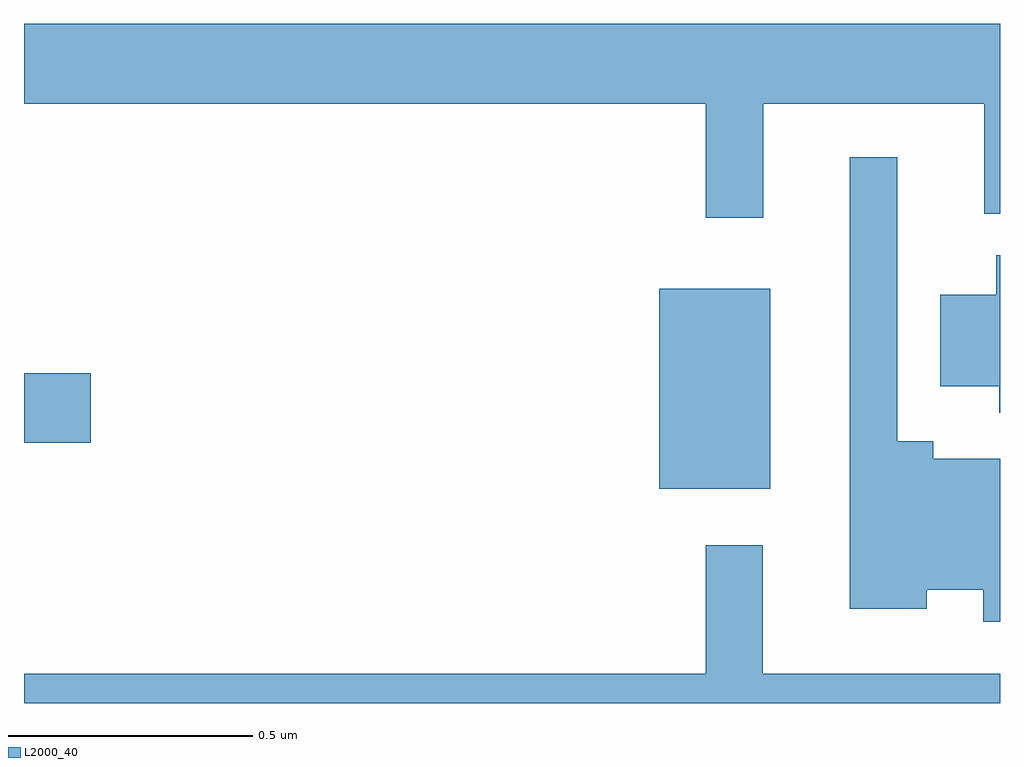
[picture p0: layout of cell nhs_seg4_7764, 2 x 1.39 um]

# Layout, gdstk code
import gdstk
lib = gdstk.Library(unit=1e-6, precision=1e-09)
def R(c, l, rs):  # rectangles x0, y0, x1, y1
    for r in rs: c.add(gdstk.rectangle(r[:2], r[2:], *l))
def P(c, l, *ps):  # polygons
    for p in ps: c.add(gdstk.Polygon(p, *l))
L2000_40 = (2000, 40)

nhs_seg4_7764 = lib.new_cell('nhs_seg4_7764')
R(nhs_seg4_7764, L2000_40, [(207.302,821.339,207.529,821.749), (206,821.434,206.137,821.576)])
P(nhs_seg4_7764, L2000_40, [(207.515,822.128),(207.968,822.128),(207.968,821.903),(208,821.903),(208,822.292),(206,822.292),(206,822.128),(207.397,822.128),(207.397,821.895),(207.515,821.895)],
  [(208,821.401),(207.863,821.401),(207.863,821.437),(207.789,821.437),(207.789,822.019),(207.692,822.019),(207.692,821.093),(207.85,821.093),(207.85,821.132),(207.966,821.132),(207.966,821.067),(208,821.067)],
  [(208,821.818),(207.992,821.818),(207.992,821.737),(207.878,821.737),(207.878,821.549),(207.998,821.549),(207.998,821.495),(208,821.495)],
  [(208,820.96),(207.514,820.96),(207.514,821.224),(207.397,821.224),(207.397,820.96),(206,820.96),(206,820.9),(208,820.9)])

lib.write_gds('nhs_seg4_7764.gds')
